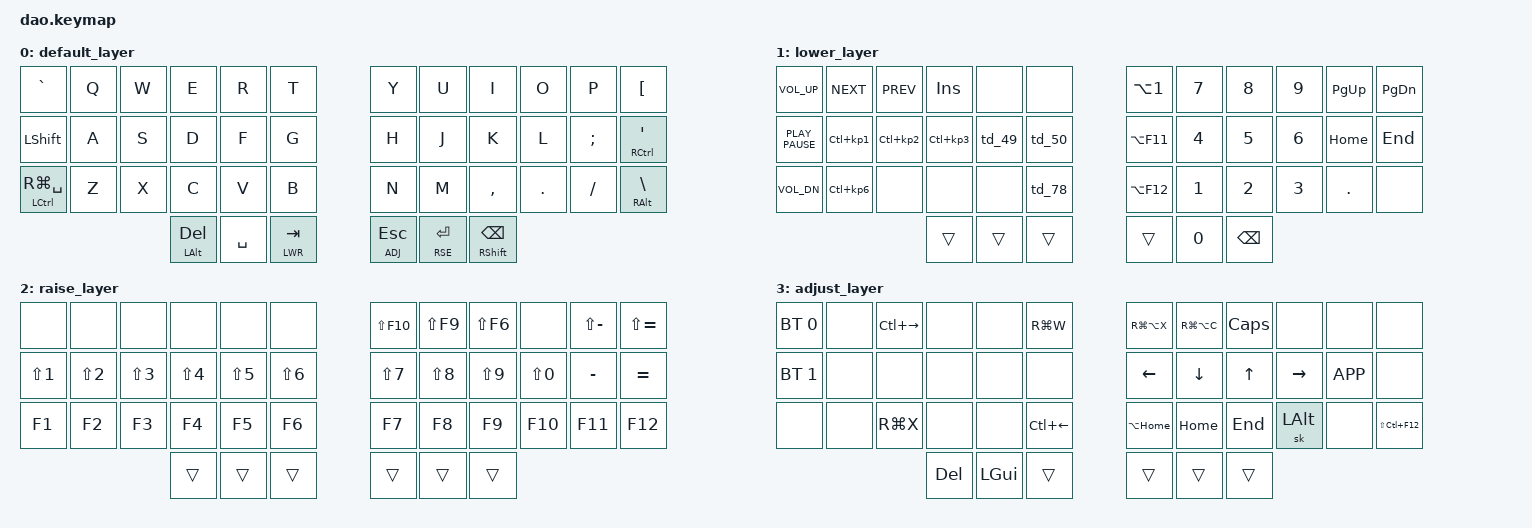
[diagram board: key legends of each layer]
/*
 * Copyright (c) 2021 Rafael Yumagulov
 *
 * SPDX-License-Identifier: MIT
 */

#include <behaviors.dtsi>
#include <dt-bindings/zmk/keys.h>
#include <dt-bindings/zmk/bt.h>

#define DEF 0
#define LWR 1
#define RSE 2
#define ADJ 3

&lt { quick_tap_ms = <200>; };
&mt { quick_tap_ms = <200>; };
// &td { tap_ms = <200>; };


/ {
    chosen {
        zmk,matrix_transform = &default_transform;
        // zmk,matrix_transform = &extra_keys_transform;
    };
};

/ {
    combos {

        combo_screenshot {
            timeout-ms = <50>;
            key-positions = <19 18>;
            bindings = <&kp RG(S) >;
        };
        combo_undo {
            timeout-ms = <50>;
            key-positions = <21 22>;
            bindings = <&kp LC(Z) >;
        };
        combo_cut {
            timeout-ms = <50>;
            key-positions = <8 9>;
            bindings = <&sk RCTRL >;
        };
        combo_copy {
            timeout-ms = <50>;
            key-positions = <18 17>;
            bindings = <&kp LC(C) >;
        };
        combo_paste {
            timeout-ms = <50>;
            key-positions = <5 4>;
            bindings = <&kp LC(V) >;
        };
        compatible = "zmk,combos";
        combo_left_ctrlshift {
            timeout-ms = <50>;
            key-positions = <30 29>;
            bindings = <&kp LS(LCTRL) >;
        };
        combo_left_ctrlalt {
            timeout-ms = <50>;
            key-positions = <29 28>;
            bindings = <&kp LA(LCTRL) >;
        };
        combo_leftshiftalt {
            timeout-ms = <50>;
            key-positions = <30 28>;
            bindings = <&kp LS(LALT) >;
        };
        combo_lefctrltshiftalt {
            timeout-ms = <50>;
            key-positions = <30 29 28>;
            bindings = <&kp LS(LA(LCTRL))>;
        };
        combo_right_ctrlshift {
            timeout-ms = <50>;
            key-positions = <33 34>;
            bindings = <&kp LS(LCTRL) >;
        };
        combo_right_ctrlalt {
            timeout-ms = <50>;
            key-positions = <34 35>;
            bindings = <&kp LA(LCTRL) >;
        };
        combo_right_shiftalt {
            timeout-ms = <50>;
            key-positions = <33 35>;
            bindings = <&kp LS(LALT) >;
        };
        combo_right_ctrlshiftalt {
            timeout-ms = <50>;
            key-positions = <33 34 35>;
            bindings = <&kp LS(LA(LCTRL))>;
        };
    };
};

/ {
 macros {
        ace_jump_pycharm: ace_jump_pycharm {
            label = "Acejump";
            compatible = "zmk,behavior-macro";
            #binding-cells = <0>;
            wait-ms = <40>;
            tap-ms = <40>;
            bindings
                = <&kp SPACE &kp SPACE &kp S>
                ;
        };
         vim_past_from_zero: vim_past_from_zero {
            label = "vimpastzero";
            compatible = "zmk,behavior-macro";
            #binding-cells = <0>;
            wait-ms = <40>;
            tap-ms = <40>;
            bindings
                = <&kp LS(SQT) &kp N0 &kp P>
                ;
        };
         vim_past_from_system: vim_past_from_system {
            label = "vimpastsystem";
            compatible = "zmk,behavior-macro";
            #binding-cells = <0>;
            wait-ms = <40>;
            tap-ms = <40>;
            bindings
                = <&kp LS(SQT) &kp LS(N8) &kp P>
                ;
        };
    };

    behaviors {
        td_f112: tap_dance_f112 {
            compatible = "zmk,behavior-tap-dance";
            label = "td_f112";
            #binding-cells = <0>;
            tapping-term-ms = <300>;
            bindings = <&kp F11>, <&kp F12>;
        };
        td_78: tap_dance_78 {
            compatible = "zmk,behavior-tap-dance";
            label = "td_78";
            #binding-cells = <0>;
            tapping-term-ms = <300>;
            bindings = <&kp LC(KP_N7)>, <&kp LC(KP_N8)>;
        };
        td_49: tap_dance_49 {
            compatible = "zmk,behavior-tap-dance";
            label = "td_49";
            #binding-cells = <0>;
            tapping-term-ms = <300>;
            bindings = <&kp LC(KP_N4)>, <&kp LC(KP_N9)>;
        };
        td_50: tap_dance_50 {
            compatible = "zmk,behavior-tap-dance";
            label = "td_50";
            #binding-cells = <0>;
            tapping-term-ms = <300>;
            bindings = <&kp LC(KP_N5)>, <&kp LC(KP_N0)>;
        };
    };
        keymap {
                compatible = "zmk,keymap";

                default_layer {
                        bindings = <
          &kp GRAVE            &kp Q   &kp W   &kp E         &kp R      &kp T             &kp Y         &kp U         &kp I         &kp O      &kp P      &kp LBKT       
          &kp LSHIFT           &kp A   &kp S   &kp D         &kp F      &kp G             &kp H         &kp J         &kp K         &kp L      &kp SEMI   &mt RCTRL SQT
          &mt LCTRL RG(SPACE)  &kp Z   &kp X   &kp C         &kp V      &kp B             &kp N         &kp M         &kp COMMA     &kp DOT    &kp FSLH   &mt RALT BSLH
                                               &mt LALT DEL  &kp SPACE  &lt LWR TAB       &lt ADJ ESC   &lt RSE RET   &mt RSHFT BSPC   
                        >;
                };
                lower_layer {
// -----------------------------------------------------------------------------------------
//  | none  |  SHIFT(Q)  |   none   | SHIFT(E)              |  SHIFT(R) CTRL(R)  |  SHIFT(T)  | none |                  | LA(1)   |  7     |  8    |  9  | PG_UP| PG_DN|
//  | SHIFT |  SHIFT(A)  | SHIFT(S) | SHIFT(D) CTRL (D)     |  SHIFT(F)          |  none      | none |                  | LA(F11) |  4     |  5    |  6  | none | none|
//  | CTRL  |  SHIFT(Z)  | SHIFT(X) | CTRL (C) CTRL+SHIFT+C |  SHIFT(V)          |  none      | none |                  | LR(F12) |  1     |  2    |  3  | .    | none|
//                                                          |  CTRL(Z)           |  TRANS     | ESC  |                  | TRANS   |  0     | BCSP |
                        bindings = <
   &kp K_VOL_UP     &kp K_NEXT    &kp K_PREV    &kp INS       &none     &none               &kp LA(N1)    &kp N7   &kp N8   &kp N9   &kp PG_UP &kp PG_DN 
   &kp K_PLAY_PAUSE &kp LC(KP_N1) &kp LC(KP_N2) &kp LC(KP_N3) &td_49    &td_50              &kp LA(F11)   &kp N4   &kp N5   &kp N6   &kp HOME  &kp END
   &kp K_VOL_DN     &kp LC(KP_N6) &none         &none         &none     &td_78              &kp LA(F12)   &kp N1   &kp N2   &kp N3   &kp DOT   &none
                                                &trans        &trans    &trans              &trans        &kp N0   &kp BSPC   
                        >;
                };

                raise_layer {
// -----------------------------------------------------------------------------------------
// | none |  none | none |  none  |  none  |  none  |         | run   | debug| Ref   | none | _   |   +    |
// | !    |  @    |  #   |    $   |   %    |   ^    |         |    &  |  *   | (     | )    | -   |   =    |
// |  F1  | F2    |  F3  |  F4    |  F5    |   F6   |         |    F7 |  F8  | F9    | F10  | F11 | F12|
//                     | TRANS    |  TRANS | TRANS  |         | TRANS | TRANS| TRANS |
                        bindings = <
   &none       &none       &none         &none      &none       &none              &kp LS(F10)    &kp LS(F9)  &kp LS(F6)  &none       &kp LS(MINUS) &kp LS(EQUAL)
   &kp LS(N1)  &kp LS(N2)  &kp LS(N3)    &kp LS(N4) &kp LS(N5)  &kp LS(N6)         &kp LS(N7)     &kp LS(N8)  &kp LS(N9)  &kp LS(N0)  &kp MINUS     &kp EQUAL
   &kp F1      &kp F2      &kp F3        &kp F4     &kp F5      &kp F6             &kp F7         &kp F8      &kp F9      &kp F10     &kp F11       &kp F12
                                         &trans     &trans      &trans             &trans         &trans      &trans
                        >;
                };
                adjust_layer {
// -----------------------------------------------------------------------------------------
// | 0_profile |CTRL(RIGHT)| none |none |GUI(W)|          |   none   |  none |  CAPS   |  none   |  vim_past   |  none             |
// | 1_profile | none      | none |none |none  |          |   LEFT   | DOWN  |  UP     | RIGHT   |  LT(HOME)   |  none             |
// | none      |  none     |GUI(X)|none |none  |          |   SHIFT  | MENU  |  CTRL   |  ALT    |  none       |   SHIFT CTRL F12  |
//                         |TRANS | GUI | TRANS|          | TRANS    | TRANS | TRANS   |
                        bindings = <
  &bt BT_SEL 0 &none  &kp LC(RIGHT) &none    &none     &kp RG(W)          &kp RG(LA(X))  &kp RG(LA(C))   &kp CAPS   &none      &none      &none
  &bt BT_SEL 1 &none  &none         &none    &none     &none              &kp LEFT       &kp DOWN        &kp UP     &kp RIGHT  &kp K_APP  &none
  &none        &none  &kp RG(X)     &none    &none     &kp LC(LEFT)       &kp LA(HOME)   &kp HOME        &kp END    &sk LALT   &none      &kp LS(LC(F12))
                                    &kp DEL  &kp LGUI  &trans             &trans         &trans          &trans
                        >;
                };
        };
};
